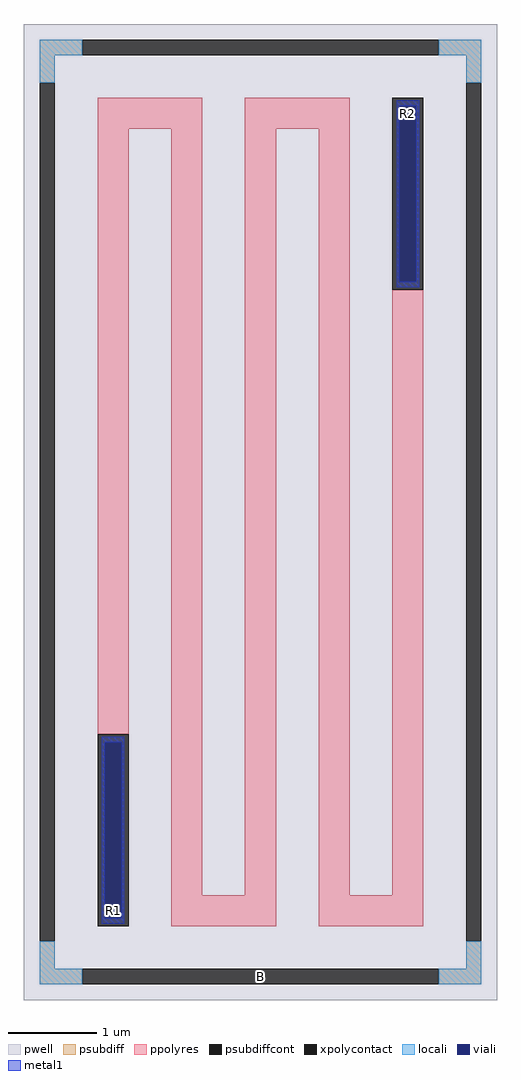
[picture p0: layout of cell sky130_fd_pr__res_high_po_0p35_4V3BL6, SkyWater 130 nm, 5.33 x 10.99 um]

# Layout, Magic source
magic
tech sky130A
magscale 1 2
<< pwell >>
rect -533 -1099 533 1099
<< psubdiff >>
rect -497 1029 -401 1063
rect 401 1029 497 1063
rect -497 967 -463 1029
rect 463 967 497 1029
rect -497 -1029 -463 -967
rect 463 -1029 497 -967
rect -497 -1063 -401 -1029
rect 401 -1063 497 -1029
<< psubdiffcont >>
rect -401 1029 401 1063
rect -497 -967 -463 967
rect 463 -967 497 967
rect -401 -1063 401 -1029
<< xpolycontact >>
rect -367 -933 -297 -501
rect 297 501 367 933
<< ppolyres >>
rect -367 863 -131 933
rect -367 -501 -297 863
rect -201 -863 -131 863
rect -35 863 201 933
rect -35 -863 35 863
rect -201 -933 35 -863
rect 131 -863 201 863
rect 297 -863 367 501
rect 131 -933 367 -863
<< locali >>
rect -497 1029 -401 1063
rect 401 1029 497 1063
rect -497 967 -463 1029
rect 463 967 497 1029
rect -497 -1029 -463 -967
rect 463 -1029 497 -967
rect -497 -1063 -401 -1029
rect 401 -1063 497 -1029
<< viali >>
rect 313 518 351 915
rect -351 -915 -313 -518
<< metal1 >>
rect 307 915 357 927
rect 307 518 313 915
rect 351 518 357 915
rect 307 506 357 518
rect -357 -518 -307 -506
rect -357 -915 -351 -518
rect -313 -915 -307 -518
rect -357 -927 -307 -915
<< labels >>
rlabel psubdiffcont 0 -1046 0 -1046 0 B
port 1 nsew
rlabel xpolycontact -332 -898 -332 -898 0 R1
port 2 nsew
rlabel xpolycontact 332 898 332 898 0 R2
port 3 nsew
<< properties >>
string FIXED_BBOX -480 -1046 480 1046
string gencell sky130_fd_pr__res_high_po_0p35
string library sky130
string parameters w 0.35 l 9.33 m 1 nx 5 wmin 0.350 lmin 0.50 class resistor rho 319.8 val 45.017k dummy 0 dw 0.0 term 194.82 sterm 0.0 caplen 0 guard 1 glc 1 grc 1 gtc 1 gbc 1 compatible {sky130_fd_pr__res_high_po_0p35  sky130_fd_pr__res_high_po_0p69 sky130_fd_pr__res_high_po_1p41  sky130_fd_pr__res_high_po_2p85 sky130_fd_pr__res_high_po_5p73} snake 1 full_metal 1 wmax 0.350 vias 1 n_guard 0 hv_guard 0 viagb 0 viagt 0 viagl 0 viagr 0 doports 1
<< end >>
